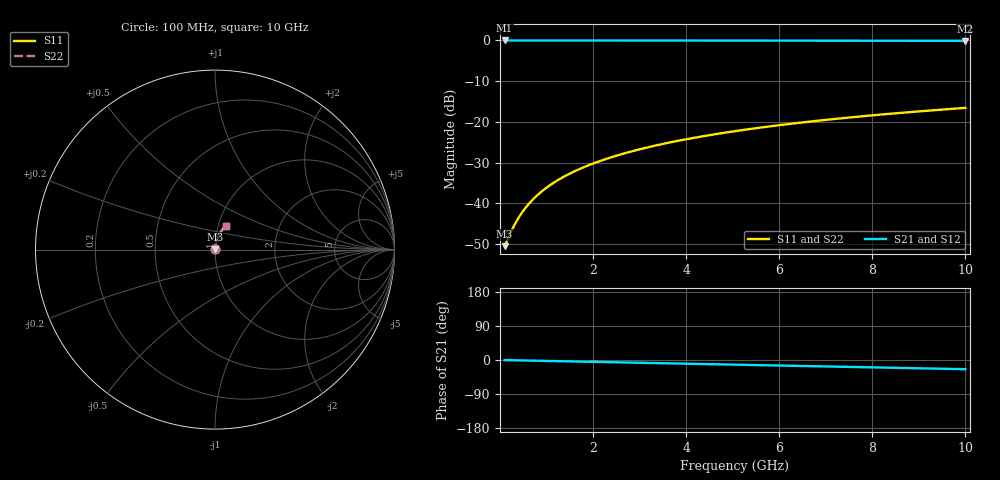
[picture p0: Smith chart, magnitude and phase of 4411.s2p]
# Hz S RI R 50.00
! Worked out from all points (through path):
!   100 points, 100 MHz to 10 GHz, reference 50 ohm
!   highest |S21| = -0.02 dB at 100 MHz (marker M1); lowest = -0.1 dB at 10 GHz (marker M2)
!   group delay of S21, straight-line fit = 6.74 ps
!   lowest |S11| = -50.5 dB at 100 MHz (marker M3), VSWR 1.01, Z = 50.3 + j0.153 ohm
!   |S11| at or under -10 dB: start of sweep to end of sweep
!   |S22| runs from -50.5 to -16.6 dB; largest |S21 - S12| = 0
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1e8  0.00256 0.00152  0.9974 -0.00423  0.9974 -0.00423  0.00256 0.00152
2e8  0.0026 0.00305  0.9974 -0.00847  0.9974 -0.00847  0.0026 0.00305
3e8  0.00264 0.00457  0.9973 -0.0127  0.9973 -0.0127  0.00264 0.00457
4e8  0.0027 0.0061  0.9972 -0.0169  0.9972 -0.0169  0.0027 0.0061
5e8  0.00276 0.00762  0.9971 -0.0212  0.9971 -0.0212  0.00276 0.00762
6e8  0.00284 0.00914  0.997 -0.0254  0.997 -0.0254  0.00284 0.00914
7e8  0.00293 0.0107  0.9969 -0.0296  0.9969 -0.0296  0.00293 0.0107
9e8  0.00315 0.0137  0.9965 -0.0381  0.9965 -0.0381  0.00315 0.0137
1e9  0.00328 0.0152  0.9963 -0.0423  0.9963 -0.0423  0.00328 0.0152
1.2e9  0.00357 0.0183  0.9959 -0.0508  0.9959 -0.0508  0.00357 0.0183
1.5e9  0.0041 0.0228  0.995 -0.0635  0.995 -0.0635  0.0041 0.0228
1.8e9  0.00475 0.0273  0.994 -0.0761  0.994 -0.0761  0.00475 0.0273
2.1e9  0.00551 0.0318  0.9928 -0.0888  0.9928 -0.0888  0.00551 0.0318
2.5e9  0.00671 0.0378  0.9909 -0.1056  0.9909 -0.1056  0.00671 0.0378
2.9e9  0.0081 0.0437  0.9887 -0.1224  0.9887 -0.1224  0.0081 0.0437
3.4e9  0.0101 0.0511  0.9855 -0.1433  0.9855 -0.1433  0.0101 0.0511
4.2e9  0.014 0.0626  0.9794 -0.1765  0.9794 -0.1765  0.014 0.0626
5.1e9  0.0193 0.0752  0.971 -0.2135  0.971 -0.2135  0.0193 0.0752
5.9e9  0.0248 0.086  0.9622 -0.246  0.9622 -0.246  0.0248 0.086
6.7e9  0.031 0.0965  0.9522 -0.2782  0.9522 -0.2782  0.031 0.0965
8.4e9  0.0464 0.117  0.9271 -0.3448  0.9271 -0.3448  0.0464 0.117
1e10  0.0634 0.1342  0.8989 -0.4051  0.8989 -0.4051  0.0634 0.1342
